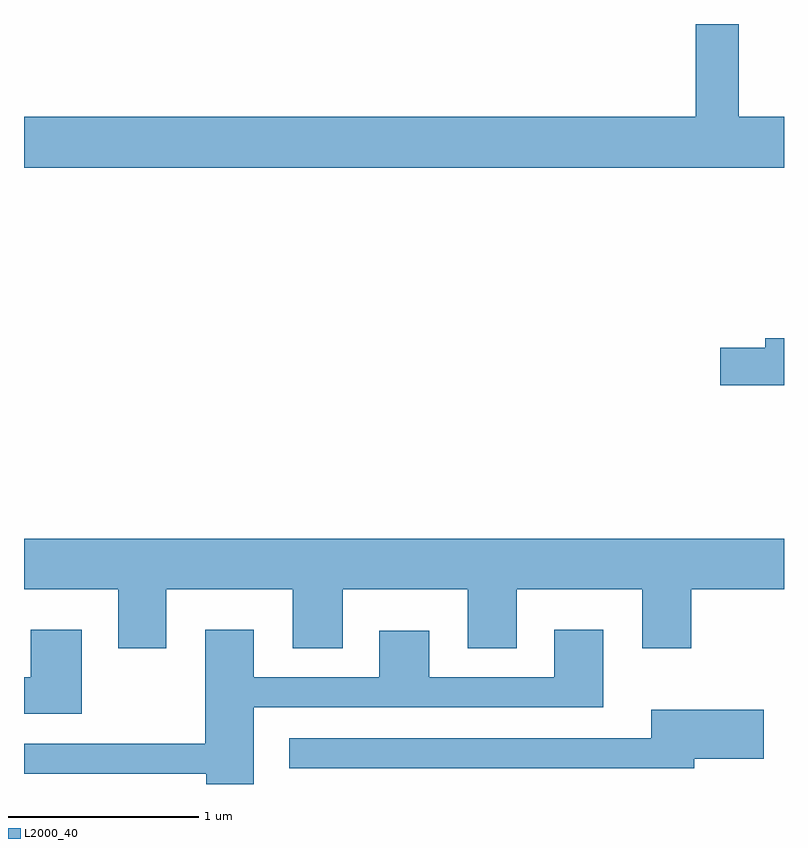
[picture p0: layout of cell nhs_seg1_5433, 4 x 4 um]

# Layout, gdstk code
import gdstk
lib = gdstk.Library(unit=1e-6, precision=1e-09)
def P(c, l, *ps):  # polygons
    for p in ps: c.add(gdstk.Polygon(p, *l))
L2000_40 = (2000, 40)

nhs_seg1_5433 = lib.new_cell('nhs_seg1_5433')
P(nhs_seg1_5433, L2000_40, [(353.611,853.224),(353.374,853.224),(353.374,853.712),(353.146,853.712),(353.146,853.224),(349.611,853.224),(349.611,852.956),(353.611,852.956)],
  [(353.611,852.059),(353.511,852.059),(353.511,852.009),(353.276,852.009),(353.276,851.811),(353.611,851.811)],
  [(350.359,850.736),(351.026,850.736),(351.026,850.426),(351.289,850.426),(351.289,850.736),(351.946,850.736),(351.946,850.426),(352.204,850.426),(352.204,850.736),(352.866,850.736),(352.866,850.426),(353.124,850.426),(353.124,850.736),(353.611,850.736),(353.611,851.004),(349.611,851.004),(349.611,850.736),(350.106,850.736),(350.106,850.426),(350.359,850.426)],
  [(349.914,850.524),(349.646,850.524),(349.646,850.274),(349.611,850.274),(349.611,850.081),(349.914,850.081)],
  [(350.819,850.116),(352.659,850.116),(352.659,850.524),(352.401,850.524),(352.401,850.274),(351.744,850.274),(351.744,850.519),(351.481,850.519),(351.481,850.274),(350.819,850.274),(350.819,850.524),(350.566,850.524),(350.566,849.924),(349.611,849.924),(349.611,849.766),(350.571,849.766),(350.571,849.712),(350.819,849.712)],
  [(353.139,849.846),(353.504,849.846),(353.504,850.104),(352.911,850.104),(352.911,849.954),(351.008,849.954),(351.008,849.796),(353.139,849.796)])

lib.write_gds('nhs_seg1_5433.gds')
